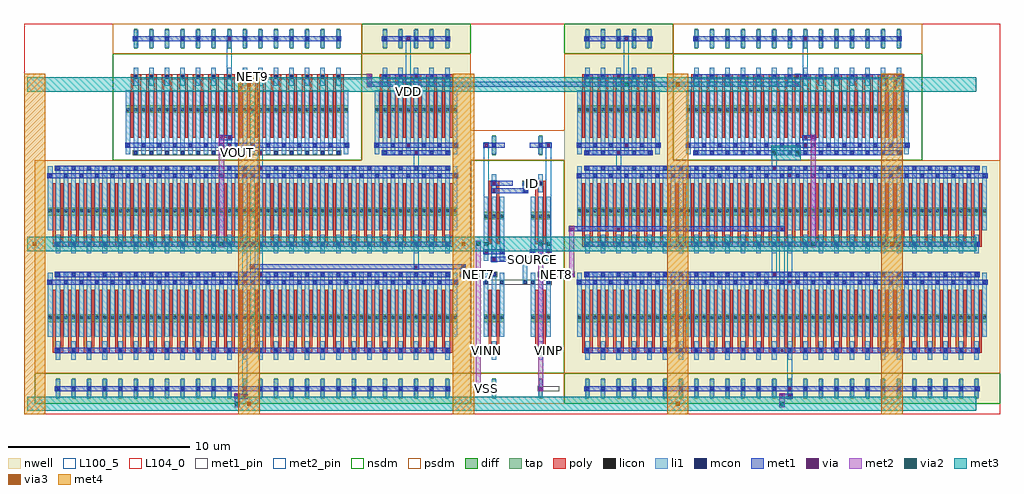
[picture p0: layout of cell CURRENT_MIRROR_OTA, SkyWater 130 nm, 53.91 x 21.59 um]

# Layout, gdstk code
import gdstk
lib = gdstk.Library(unit=1e-6, precision=1e-09)
def R(c, l, rs):  # rectangles x0, y0, x1, y1
    for r in rs: c.add(gdstk.rectangle(r[:2], r[2:], *l))
def A(c, l, x, y, w, h, nx, ny, dx, dy):  # array of equal rectangles
    R(c, l, [(x+i*dx, y+j*dy, x+i*dx+w, y+j*dy+h) for i in range(nx) for j in range(ny)])
nwell = (64, 20)
diff = (65, 20)
tap = (65, 44)
poly = (66, 20)
licon = (66, 44)
li1 = (67, 20)
mcon = (67, 44)
met1_pin = (68, 16)
met1 = (68, 20)
via = (68, 44)
met2_pin = (69, 16)
met2 = (69, 20)
via2 = (69, 44)
met3 = (70, 20)
via3 = (70, 44)
met4 = (71, 20)
nsdm = (93, 44)
psdm = (94, 20)
L100_5 = (100, 5)
L104_0 = (104, 0)

current_mirror_ota = lib.new_cell('CURRENT_MIRROR_OTA')
R(current_mirror_ota, nwell, [(0,0,24.08,13.44), (29.24,0,53.32,13.44), (18.06,13.44,24.08,21), (29.24,13.44,35.26,21)])
R(current_mirror_ota, diff, [(0.735,4.515,23.345,4.935), (24.815,4.515,25.925,4.935), (27.395,4.515,28.505,4.935), (29.975,4.515,52.585,4.935), (24.815,10.185,25.925,10.605), (27.395,10.185,28.505,10.605), (0.735,10.395,23.345,10.815), (29.975,10.395,52.585,10.815), (5.035,16.065,17.325,16.485), (18.795,16.065,23.345,16.485), (29.975,16.065,34.525,16.485), (35.995,16.065,48.285,16.485)])
A(current_mirror_ota, tap, 1.205, 0.28, 0.17, 1.12, 26, 1, 0.86, 0)
A(current_mirror_ota, tap, 25.285, 0.28, 0.17, 1.12, 3, 1, 2.58, 0)
A(current_mirror_ota, tap, 31.305, 0.28, 0.17, 1.12, 25, 1, 0.86, 0)
A(current_mirror_ota, tap, 5.505, 19.6, 0.17, 1.12, 14, 1, 0.86, 0)
A(current_mirror_ota, tap, 19.265, 19.6, 0.17, 1.12, 5, 1, 0.86, 0)
A(current_mirror_ota, tap, 30.445, 19.6, 0.17, 1.12, 5, 1, 0.86, 0)
A(current_mirror_ota, tap, 36.465, 19.6, 0.17, 1.12, 14, 1, 0.86, 0)
R(current_mirror_ota, tap, [(25.285,13.72,25.455,14.84), (27.865,13.72,28.035,14.84)])
A(current_mirror_ota, poly, 1, 2.805, 0.58, 0.27, 26, 2, 0.86, 5.88)
A(current_mirror_ota, poly, 25.08, 2.805, 0.58, 0.27, 3, 1, 2.58, 0)
A(current_mirror_ota, poly, 31.1, 2.805, 0.58, 0.27, 25, 1, 0.86, 0)
A(current_mirror_ota, poly, 1, 2.94, 0.15, 3.36, 52, 2, 0.43, 5.88)
A(current_mirror_ota, poly, 30.24, 2.94, 0.15, 3.36, 52, 2, 0.43, 5.88)
A(current_mirror_ota, poly, 30.24, 8.685, 0.58, 0.27, 26, 1, 0.86, 0)
A(current_mirror_ota, poly, 5.3, 14.7, 0.15, 3.36, 28, 1, 0.43, 0)
A(current_mirror_ota, poly, 19.06, 14.7, 0.15, 3.36, 10, 1, 0.43, 0)
A(current_mirror_ota, poly, 30.24, 14.7, 0.15, 3.36, 10, 1, 0.43, 0)
A(current_mirror_ota, poly, 36.26, 14.7, 0.15, 3.36, 28, 1, 0.43, 0)
A(current_mirror_ota, poly, 5.3, 17.925, 0.58, 0.27, 14, 1, 0.86, 0)
A(current_mirror_ota, poly, 19.06, 17.925, 0.58, 0.27, 5, 1, 0.86, 0)
A(current_mirror_ota, poly, 30.24, 17.925, 0.58, 0.27, 5, 1, 0.86, 0)
A(current_mirror_ota, poly, 36.26, 17.925, 0.58, 0.27, 14, 1, 0.86, 0)
R(current_mirror_ota, poly, [(25.08,2.94,25.23,6.3), (25.51,2.94,25.66,6.3), (27.66,2.94,27.81,6.3), (28.09,2.94,28.24,6.3), (25.08,8.82,25.23,12.18), (25.51,8.82,25.66,12.18), (27.66,8.82,27.81,12.18), (28.09,8.82,28.24,12.18), (25.08,12.045,25.66,12.315), (27.66,12.045,28.24,12.315)])
A(current_mirror_ota, licon, 22.705, 0.755, 0.17, 0.17, 4, 1, 2.58, 0)
A(current_mirror_ota, licon, 1.205, 2.855, 0.17, 0.17, 26, 2, 0.86, 5.88)
A(current_mirror_ota, licon, 25.285, 2.855, 0.17, 0.17, 3, 1, 2.58, 0)
A(current_mirror_ota, licon, 31.305, 2.855, 0.17, 0.17, 25, 1, 0.86, 0)
A(current_mirror_ota, licon, 0.775, 4.685, 0.17, 0.17, 3, 2, 0.43, 5.88)
A(current_mirror_ota, licon, 1.635, 4.685, 0.17, 0.17, 3, 2, 0.43, 5.88)
A(current_mirror_ota, licon, 2.495, 4.685, 0.17, 0.17, 3, 2, 0.43, 5.88)
A(current_mirror_ota, licon, 3.355, 4.685, 0.17, 0.17, 3, 2, 0.43, 5.88)
A(current_mirror_ota, licon, 4.215, 4.685, 0.17, 0.17, 3, 2, 0.43, 5.88)
A(current_mirror_ota, licon, 5.075, 4.685, 0.17, 0.17, 3, 2, 0.43, 5.88)
A(current_mirror_ota, licon, 5.935, 4.685, 0.17, 0.17, 3, 2, 0.43, 5.88)
A(current_mirror_ota, licon, 6.795, 4.685, 0.17, 0.17, 3, 2, 0.43, 5.88)
A(current_mirror_ota, licon, 7.655, 4.685, 0.17, 0.17, 3, 2, 0.43, 5.88)
A(current_mirror_ota, licon, 8.515, 4.685, 0.17, 0.17, 3, 2, 0.43, 5.88)
A(current_mirror_ota, licon, 9.375, 4.685, 0.17, 0.17, 3, 2, 0.43, 5.88)
A(current_mirror_ota, licon, 10.235, 4.685, 0.17, 0.17, 3, 2, 0.43, 5.88)
A(current_mirror_ota, licon, 11.095, 4.685, 0.17, 0.17, 3, 2, 0.43, 5.88)
A(current_mirror_ota, licon, 11.955, 4.685, 0.17, 0.17, 3, 2, 0.43, 5.88)
A(current_mirror_ota, licon, 12.815, 4.685, 0.17, 0.17, 3, 2, 0.43, 5.88)
A(current_mirror_ota, licon, 13.675, 4.685, 0.17, 0.17, 3, 2, 0.43, 5.88)
A(current_mirror_ota, licon, 14.535, 4.685, 0.17, 0.17, 3, 2, 0.43, 5.88)
A(current_mirror_ota, licon, 15.395, 4.685, 0.17, 0.17, 3, 2, 0.43, 5.88)
A(current_mirror_ota, licon, 16.255, 4.685, 0.17, 0.17, 3, 2, 0.43, 5.88)
A(current_mirror_ota, licon, 17.115, 4.685, 0.17, 0.17, 3, 2, 0.43, 5.88)
A(current_mirror_ota, licon, 17.975, 4.685, 0.17, 0.17, 3, 2, 0.43, 5.88)
A(current_mirror_ota, licon, 18.835, 4.685, 0.17, 0.17, 3, 2, 0.43, 5.88)
A(current_mirror_ota, licon, 19.695, 4.685, 0.17, 0.17, 3, 2, 0.43, 5.88)
A(current_mirror_ota, licon, 20.555, 4.685, 0.17, 0.17, 3, 2, 0.43, 5.88)
A(current_mirror_ota, licon, 21.415, 4.685, 0.17, 0.17, 3, 2, 0.43, 5.88)
A(current_mirror_ota, licon, 22.275, 4.685, 0.17, 0.17, 3, 2, 0.43, 5.88)
A(current_mirror_ota, licon, 24.855, 4.685, 0.17, 0.17, 3, 2, 0.43, 5.58)
A(current_mirror_ota, licon, 27.435, 4.685, 0.17, 0.17, 3, 2, 0.43, 5.58)
A(current_mirror_ota, licon, 30.015, 4.685, 0.17, 0.17, 3, 2, 0.43, 5.88)
A(current_mirror_ota, licon, 30.875, 4.685, 0.17, 0.17, 3, 2, 0.43, 5.88)
A(current_mirror_ota, licon, 31.735, 4.685, 0.17, 0.17, 3, 2, 0.43, 5.88)
A(current_mirror_ota, licon, 32.595, 4.685, 0.17, 0.17, 3, 2, 0.43, 5.88)
A(current_mirror_ota, licon, 33.455, 4.685, 0.17, 0.17, 3, 2, 0.43, 5.88)
A(current_mirror_ota, licon, 34.315, 4.685, 0.17, 0.17, 3, 2, 0.43, 5.88)
A(current_mirror_ota, licon, 35.175, 4.685, 0.17, 0.17, 3, 2, 0.43, 5.88)
A(current_mirror_ota, licon, 36.035, 4.685, 0.17, 0.17, 3, 2, 0.43, 5.88)
A(current_mirror_ota, licon, 36.895, 4.685, 0.17, 0.17, 3, 2, 0.43, 5.88)
A(current_mirror_ota, licon, 37.755, 4.685, 0.17, 0.17, 3, 2, 0.43, 5.88)
A(current_mirror_ota, licon, 38.615, 4.685, 0.17, 0.17, 3, 2, 0.43, 5.88)
A(current_mirror_ota, licon, 39.475, 4.685, 0.17, 0.17, 3, 2, 0.43, 5.88)
A(current_mirror_ota, licon, 40.335, 4.685, 0.17, 0.17, 3, 2, 0.43, 5.88)
A(current_mirror_ota, licon, 41.195, 4.685, 0.17, 0.17, 3, 2, 0.43, 5.88)
A(current_mirror_ota, licon, 42.055, 4.685, 0.17, 0.17, 3, 2, 0.43, 5.88)
A(current_mirror_ota, licon, 42.915, 4.685, 0.17, 0.17, 3, 2, 0.43, 5.88)
A(current_mirror_ota, licon, 43.775, 4.685, 0.17, 0.17, 3, 2, 0.43, 5.88)
A(current_mirror_ota, licon, 44.635, 4.685, 0.17, 0.17, 3, 2, 0.43, 5.88)
A(current_mirror_ota, licon, 45.495, 4.685, 0.17, 0.17, 3, 2, 0.43, 5.88)
A(current_mirror_ota, licon, 46.355, 4.685, 0.17, 0.17, 3, 2, 0.43, 5.88)
A(current_mirror_ota, licon, 47.215, 4.685, 0.17, 0.17, 3, 2, 0.43, 5.88)
A(current_mirror_ota, licon, 48.075, 4.685, 0.17, 0.17, 3, 2, 0.43, 5.88)
A(current_mirror_ota, licon, 48.935, 4.685, 0.17, 0.17, 3, 2, 0.43, 5.88)
A(current_mirror_ota, licon, 49.795, 4.685, 0.17, 0.17, 3, 2, 0.43, 5.88)
A(current_mirror_ota, licon, 50.655, 4.685, 0.17, 0.17, 3, 2, 0.43, 5.88)
A(current_mirror_ota, licon, 51.515, 4.685, 0.17, 0.17, 3, 2, 0.43, 5.88)
A(current_mirror_ota, licon, 30.445, 8.735, 0.17, 0.17, 26, 1, 0.86, 0)
A(current_mirror_ota, licon, 5.075, 16.145, 0.17, 0.17, 3, 1, 0.43, 0)
A(current_mirror_ota, licon, 5.935, 16.145, 0.17, 0.17, 3, 1, 0.43, 0)
A(current_mirror_ota, licon, 6.795, 16.145, 0.17, 0.17, 3, 1, 0.43, 0)
A(current_mirror_ota, licon, 7.655, 16.145, 0.17, 0.17, 3, 1, 0.43, 0)
A(current_mirror_ota, licon, 8.515, 16.145, 0.17, 0.17, 3, 1, 0.43, 0)
A(current_mirror_ota, licon, 9.375, 16.145, 0.17, 0.17, 3, 1, 0.43, 0)
A(current_mirror_ota, licon, 10.235, 16.145, 0.17, 0.17, 3, 1, 0.43, 0)
A(current_mirror_ota, licon, 11.095, 16.145, 0.17, 0.17, 3, 1, 0.43, 0)
A(current_mirror_ota, licon, 11.955, 16.145, 0.17, 0.17, 3, 1, 0.43, 0)
A(current_mirror_ota, licon, 12.815, 16.145, 0.17, 0.17, 3, 1, 0.43, 0)
A(current_mirror_ota, licon, 13.675, 16.145, 0.17, 0.17, 3, 1, 0.43, 0)
A(current_mirror_ota, licon, 14.535, 16.145, 0.17, 0.17, 3, 1, 0.43, 0)
A(current_mirror_ota, licon, 15.395, 16.145, 0.17, 0.17, 3, 1, 0.43, 0)
A(current_mirror_ota, licon, 16.255, 16.145, 0.17, 0.17, 3, 1, 0.43, 0)
A(current_mirror_ota, licon, 18.835, 16.145, 0.17, 0.17, 3, 1, 0.43, 0)
A(current_mirror_ota, licon, 19.695, 16.145, 0.17, 0.17, 3, 1, 0.43, 0)
A(current_mirror_ota, licon, 20.555, 16.145, 0.17, 0.17, 3, 1, 0.43, 0)
A(current_mirror_ota, licon, 21.415, 16.145, 0.17, 0.17, 3, 1, 0.43, 0)
A(current_mirror_ota, licon, 22.275, 16.145, 0.17, 0.17, 3, 1, 0.43, 0)
A(current_mirror_ota, licon, 30.015, 16.145, 0.17, 0.17, 3, 1, 0.43, 0)
A(current_mirror_ota, licon, 30.875, 16.145, 0.17, 0.17, 3, 1, 0.43, 0)
A(current_mirror_ota, licon, 31.735, 16.145, 0.17, 0.17, 3, 1, 0.43, 0)
A(current_mirror_ota, licon, 32.595, 16.145, 0.17, 0.17, 3, 1, 0.43, 0)
A(current_mirror_ota, licon, 33.455, 16.145, 0.17, 0.17, 3, 1, 0.43, 0)
A(current_mirror_ota, licon, 36.035, 16.145, 0.17, 0.17, 3, 1, 0.43, 0)
A(current_mirror_ota, licon, 36.895, 16.145, 0.17, 0.17, 3, 1, 0.43, 0)
A(current_mirror_ota, licon, 37.755, 16.145, 0.17, 0.17, 3, 1, 0.43, 0)
A(current_mirror_ota, licon, 38.615, 16.145, 0.17, 0.17, 3, 1, 0.43, 0)
A(current_mirror_ota, licon, 39.475, 16.145, 0.17, 0.17, 3, 1, 0.43, 0)
A(current_mirror_ota, licon, 40.335, 16.145, 0.17, 0.17, 3, 1, 0.43, 0)
A(current_mirror_ota, licon, 41.195, 16.145, 0.17, 0.17, 3, 1, 0.43, 0)
A(current_mirror_ota, licon, 42.055, 16.145, 0.17, 0.17, 3, 1, 0.43, 0)
A(current_mirror_ota, licon, 42.915, 16.145, 0.17, 0.17, 3, 1, 0.43, 0)
A(current_mirror_ota, licon, 43.775, 16.145, 0.17, 0.17, 3, 1, 0.43, 0)
A(current_mirror_ota, licon, 44.635, 16.145, 0.17, 0.17, 3, 1, 0.43, 0)
A(current_mirror_ota, licon, 45.495, 16.145, 0.17, 0.17, 3, 1, 0.43, 0)
A(current_mirror_ota, licon, 46.355, 16.145, 0.17, 0.17, 3, 1, 0.43, 0)
A(current_mirror_ota, licon, 47.215, 16.145, 0.17, 0.17, 3, 1, 0.43, 0)
A(current_mirror_ota, licon, 5.505, 17.975, 0.17, 0.17, 14, 2, 0.86, 2.1)
A(current_mirror_ota, licon, 19.265, 17.975, 0.17, 0.17, 5, 2, 0.86, 2.1)
A(current_mirror_ota, licon, 30.445, 17.975, 0.17, 0.17, 5, 2, 0.86, 2.1)
A(current_mirror_ota, licon, 36.465, 17.975, 0.17, 0.17, 14, 2, 0.86, 2.1)
R(current_mirror_ota, licon, [(1.205,0.755,1.375,0.925), (1.205,0.755,1.375,0.925), (2.065,0.755,2.235,0.925), (2.065,0.755,2.235,0.925), (2.925,0.755,3.095,0.925), (2.925,0.755,3.095,0.925), (3.785,0.755,3.955,0.925), (3.785,0.755,3.955,0.925), (4.645,0.755,4.815,0.925), (4.645,0.755,4.815,0.925), (5.505,0.755,5.675,0.925), (5.505,0.755,5.675,0.925), (6.365,0.755,6.535,0.925), (6.365,0.755,6.535,0.925), (7.225,0.755,7.395,0.925), (7.225,0.755,7.395,0.925), (8.085,0.755,8.255,0.925), (8.085,0.755,8.255,0.925), (8.945,0.755,9.115,0.925), (8.945,0.755,9.115,0.925), (9.805,0.755,9.975,0.925), (9.805,0.755,9.975,0.925), (10.665,0.755,10.835,0.925), (10.665,0.755,10.835,0.925), (11.525,0.755,11.695,0.925), (11.525,0.755,11.695,0.925), (12.385,0.755,12.555,0.925), (12.385,0.755,12.555,0.925), (13.245,0.755,13.415,0.925), (13.245,0.755,13.415,0.925), (14.105,0.755,14.275,0.925), (14.105,0.755,14.275,0.925), (14.965,0.755,15.135,0.925), (14.965,0.755,15.135,0.925), (15.825,0.755,15.995,0.925), (15.825,0.755,15.995,0.925), (16.685,0.755,16.855,0.925), (16.685,0.755,16.855,0.925), (17.545,0.755,17.715,0.925), (17.545,0.755,17.715,0.925), (18.405,0.755,18.575,0.925), (18.405,0.755,18.575,0.925), (19.265,0.755,19.435,0.925), (19.265,0.755,19.435,0.925), (20.125,0.755,20.295,0.925), (20.125,0.755,20.295,0.925), (20.985,0.755,21.155,0.925), (20.985,0.755,21.155,0.925), (21.845,0.755,22.015,0.925), (21.845,0.755,22.015,0.925), (22.705,0.755,22.875,0.925), (30.445,0.755,30.615,0.925), (31.305,0.755,31.475,0.925), (31.305,0.755,31.475,0.925), (32.165,0.755,32.335,0.925), (32.165,0.755,32.335,0.925), (33.025,0.755,33.195,0.925), (33.025,0.755,33.195,0.925), (33.885,0.755,34.055,0.925), (33.885,0.755,34.055,0.925), (34.745,0.755,34.915,0.925), (34.745,0.755,34.915,0.925), (35.605,0.755,35.775,0.925), (35.605,0.755,35.775,0.925), (36.465,0.755,36.635,0.925), (36.465,0.755,36.635,0.925), (37.325,0.755,37.495,0.925), (37.325,0.755,37.495,0.925), (38.185,0.755,38.355,0.925), (38.185,0.755,38.355,0.925), (39.045,0.755,39.215,0.925), (39.045,0.755,39.215,0.925), (39.905,0.755,40.075,0.925), (39.905,0.755,40.075,0.925), (40.765,0.755,40.935,0.925), (40.765,0.755,40.935,0.925), (41.625,0.755,41.795,0.925), (41.625,0.755,41.795,0.925), (42.485,0.755,42.655,0.925), (42.485,0.755,42.655,0.925), (43.345,0.755,43.515,0.925), (43.345,0.755,43.515,0.925), (44.205,0.755,44.375,0.925), (44.205,0.755,44.375,0.925), (45.065,0.755,45.235,0.925), (45.065,0.755,45.235,0.925), (45.925,0.755,46.095,0.925), (45.925,0.755,46.095,0.925), (46.785,0.755,46.955,0.925), (46.785,0.755,46.955,0.925), (47.645,0.755,47.815,0.925), (47.645,0.755,47.815,0.925), (48.505,0.755,48.675,0.925), (48.505,0.755,48.675,0.925), (49.365,0.755,49.535,0.925), (49.365,0.755,49.535,0.925), (50.225,0.755,50.395,0.925), (50.225,0.755,50.395,0.925), (51.085,0.755,51.255,0.925), (51.085,0.755,51.255,0.925), (51.945,0.755,52.115,0.925), (51.945,0.755,52.115,0.925), (25.285,12.095,25.455,12.265), (27.865,12.095,28.035,12.265), (25.285,14.195,25.455,14.365), (27.865,14.195,28.035,14.365)])
A(current_mirror_ota, li1, 1.165, 0.335, 0.25, 1.01, 26, 2, 0.86, 2.1)
A(current_mirror_ota, li1, 25.245, 0.335, 0.25, 1.01, 3, 2, 2.58, 2.1)
A(current_mirror_ota, li1, 31.265, 0.335, 0.25, 1.01, 25, 2, 0.86, 2.1)
A(current_mirror_ota, li1, 0.735, 3.695, 0.25, 3.53, 53, 2, 0.43, 5.88)
A(current_mirror_ota, li1, 24.815, 3.695, 0.25, 3.53, 3, 2, 0.43, 4.2)
A(current_mirror_ota, li1, 27.395, 3.695, 0.25, 3.53, 3, 2, 0.43, 4.2)
A(current_mirror_ota, li1, 29.975, 3.695, 0.25, 3.53, 53, 2, 0.43, 5.88)
A(current_mirror_ota, li1, 1.165, 8.315, 0.25, 1.01, 26, 1, 0.86, 0)
A(current_mirror_ota, li1, 30.405, 8.315, 0.25, 1.01, 26, 1, 0.86, 0)
A(current_mirror_ota, li1, 5.035, 13.775, 0.25, 3.53, 29, 1, 0.43, 0)
A(current_mirror_ota, li1, 18.795, 13.775, 0.25, 3.53, 11, 1, 0.43, 0)
A(current_mirror_ota, li1, 29.975, 13.775, 0.25, 3.53, 11, 1, 0.43, 0)
A(current_mirror_ota, li1, 35.995, 13.775, 0.25, 3.53, 29, 1, 0.43, 0)
A(current_mirror_ota, li1, 5.465, 17.555, 0.25, 1.01, 14, 2, 0.86, 2.1)
A(current_mirror_ota, li1, 19.225, 17.555, 0.25, 1.01, 5, 2, 0.86, 2.1)
A(current_mirror_ota, li1, 30.405, 17.555, 0.25, 1.01, 5, 2, 0.86, 2.1)
A(current_mirror_ota, li1, 36.425, 17.555, 0.25, 1.01, 14, 2, 0.86, 2.1)
R(current_mirror_ota, li1, [(26.965,6.635,27.215,8.065), (23.525,7.055,23.775,7.645), (25.245,11.675,25.495,12.685), (26.965,11.675,27.215,12.265), (27.825,11.675,28.075,12.685), (25.245,13.775,25.495,14.785), (27.825,13.775,28.075,14.785)])
A(current_mirror_ota, mcon, 1.205, 0.755, 0.17, 0.17, 26, 2, 0.86, 2.1)
A(current_mirror_ota, mcon, 25.285, 0.755, 0.17, 0.17, 3, 2, 2.58, 2.1)
A(current_mirror_ota, mcon, 31.305, 0.755, 0.17, 0.17, 25, 2, 0.86, 2.1)
A(current_mirror_ota, mcon, 0.775, 6.635, 0.17, 0.17, 27, 2, 0.86, 5.88)
A(current_mirror_ota, mcon, 30.015, 6.635, 0.17, 0.17, 27, 2, 0.86, 5.88)
A(current_mirror_ota, mcon, 1.205, 7.055, 0.17, 0.17, 27, 1, 0.86, 0)
A(current_mirror_ota, mcon, 25.285, 7.055, 0.17, 0.17, 3, 1, 2.58, 0)
A(current_mirror_ota, mcon, 31.305, 7.055, 0.17, 0.17, 25, 1, 0.86, 0)
A(current_mirror_ota, mcon, 1.205, 8.735, 0.17, 0.17, 26, 2, 0.86, 4.2)
A(current_mirror_ota, mcon, 30.445, 8.735, 0.17, 0.17, 26, 2, 0.86, 4.2)
A(current_mirror_ota, mcon, 5.505, 13.775, 0.17, 0.17, 14, 2, 0.86, 4.2)
A(current_mirror_ota, mcon, 19.265, 13.775, 0.17, 0.17, 5, 2, 0.86, 4.2)
A(current_mirror_ota, mcon, 30.445, 13.775, 0.17, 0.17, 5, 2, 0.86, 4.2)
A(current_mirror_ota, mcon, 36.465, 13.775, 0.17, 0.17, 14, 2, 0.86, 4.2)
A(current_mirror_ota, mcon, 5.075, 14.195, 0.17, 0.17, 15, 1, 0.86, 0)
A(current_mirror_ota, mcon, 18.835, 14.195, 0.17, 0.17, 6, 1, 0.86, 0)
A(current_mirror_ota, mcon, 30.015, 14.195, 0.17, 0.17, 6, 1, 0.86, 0)
A(current_mirror_ota, mcon, 36.035, 14.195, 0.17, 0.17, 15, 1, 0.86, 0)
A(current_mirror_ota, mcon, 5.505, 20.075, 0.17, 0.17, 14, 1, 0.86, 0)
A(current_mirror_ota, mcon, 19.265, 20.075, 0.17, 0.17, 5, 1, 0.86, 0)
A(current_mirror_ota, mcon, 30.445, 20.075, 0.17, 0.17, 5, 1, 0.86, 0)
A(current_mirror_ota, mcon, 36.465, 20.075, 0.17, 0.17, 14, 1, 0.86, 0)
R(current_mirror_ota, mcon, [(24.855,6.635,25.025,6.805), (25.715,6.635,25.885,6.805), (27.005,6.635,27.175,6.805), (27.435,6.635,27.605,6.805), (28.295,6.635,28.465,6.805), (23.565,7.475,23.735,7.645), (25.285,7.895,25.455,8.065), (27.005,7.895,27.175,8.065), (27.865,7.895,28.035,8.065), (24.855,8.315,25.025,8.485), (25.715,8.315,25.885,8.485), (27.435,8.315,27.605,8.485), (28.295,8.315,28.465,8.485), (27.005,11.675,27.175,11.845), (25.285,12.095,25.455,12.265), (27.005,12.095,27.175,12.265), (27.865,12.095,28.035,12.265), (25.285,14.195,25.455,14.365), (27.865,14.195,28.035,14.365)])
R(current_mirror_ota, met1_pin, [(24.34,0.7,25.54,0.98), (27.78,0.7,28.98,0.98), (24.34,2.8,25.54,3.08), (27.78,2.8,28.98,3.08), (24.77,6.58,28.55,6.86), (23.48,7,25.54,7.28), (27.78,7,29.83,7.28), (26.92,7.84,28.12,8.12), (26.92,12.04,28.12,12.32), (5.42,13.72,16.94,14), (5.42,17.92,18.65,18.2)])
R(current_mirror_ota, met1, [(11.02,0.28,11.77,0.56), (41.12,0.28,41.87,0.56), (1.12,0.7,22.96,0.98), (30.36,0.7,52.2,0.98), (1.12,2.8,22.96,3.08), (30.36,2.8,52.2,3.08), (0.69,6.58,23.39,6.86), (29.93,6.58,52.63,6.86), (1.12,7,22.96,7.28), (30.36,7,52.2,7.28), (11.88,7.42,23.82,7.7), (25.2,7.84,26.4,8.12), (24.77,8.26,25.97,8.54), (27.35,8.26,28.55,8.54), (1.12,8.68,22.96,8.96), (30.36,8.68,52.2,8.96), (29.51,9.52,41.44,9.8), (25.21,11.62,27.26,11.9), (25.2,12.04,26.4,12.32), (0.69,12.46,23.39,12.74), (29.93,12.46,52.63,12.74), (1.12,12.88,22.96,13.16), (30.36,12.88,52.2,13.16), (19.18,13.72,22.96,14), (30.36,13.72,34.14,14), (36.38,13.72,47.9,14), (4.99,14.14,17.37,14.42), (18.75,14.14,23.39,14.42), (24.77,14.14,25.97,14.42), (27.35,14.14,28.55,14.42), (29.93,14.14,34.57,14.42), (35.95,14.14,48.33,14.42), (10.16,14.56,10.91,14.84), (42.41,14.56,43.16,14.84), (18.33,17.5,42.3,17.78), (19.18,17.92,22.96,18.2), (30.36,17.92,34.14,18.2), (36.38,17.92,47.9,18.2), (5.42,20.02,16.94,20.3), (19.18,20.02,22.96,20.3), (30.36,20.02,34.14,20.3), (36.38,20.02,47.9,20.3)])
A(current_mirror_ota, via, 11.535, 0.765, 0.15, 0.15, 1, 3, 0, 5.88)
A(current_mirror_ota, via, 41.635, 0.765, 0.15, 0.15, 1, 3, 0, 5.88)
A(current_mirror_ota, via, 32.175, 9.585, 0.15, 0.15, 1, 3, 0, 4.2)
R(current_mirror_ota, via, [(11.105,0.345,11.255,0.495), (11.535,0.345,11.685,0.495), (41.205,0.345,41.355,0.495), (41.635,0.345,41.785,0.495), (24.435,0.765,24.585,0.915), (27.875,0.765,28.025,0.915), (11.965,2.865,12.115,3.015), (41.205,2.865,41.355,3.015), (12.395,7.065,12.545,7.215), (29.595,7.065,29.745,7.215), (40.775,7.065,40.925,7.215), (11.965,7.485,12.115,7.635), (20.995,7.485,21.145,7.635), (25.295,7.905,25.445,8.055), (24.865,8.325,25.015,8.475), (28.305,8.325,28.455,8.475), (11.965,8.745,12.115,8.895), (41.205,8.745,41.355,8.895), (29.595,9.585,29.745,9.735), (41.205,9.585,41.355,9.735), (25.295,11.685,25.445,11.835), (25.295,12.105,25.445,12.255), (12.395,12.945,12.545,13.095), (40.775,12.945,40.925,13.095), (12.395,13.785,12.545,13.935), (20.995,13.785,21.145,13.935), (42.065,13.785,42.215,13.935), (10.675,14.205,10.825,14.355), (20.565,14.205,20.715,14.355), (24.865,14.205,25.015,14.355), (28.305,14.205,28.455,14.355), (32.605,14.205,32.755,14.355), (42.495,14.205,42.645,14.355), (10.245,14.625,10.395,14.775), (10.675,14.625,10.825,14.775), (42.495,14.625,42.645,14.775), (42.925,14.625,43.075,14.775), (18.415,17.565,18.565,17.715), (42.065,17.565,42.215,17.715), (18.415,17.985,18.565,18.135), (20.995,17.985,21.145,18.135), (42.065,17.985,42.215,18.135), (10.675,20.085,10.825,20.235), (20.565,20.085,20.715,20.235), (32.605,20.085,32.755,20.235), (42.495,20.085,42.645,20.235)])
R(current_mirror_ota, met2_pin, [(11.47,0.26,11.75,12.76), (41.57,0.26,41.85,12.76), (11.9,2.78,12.18,8.98), (41.14,2.78,41.42,9.82), (12.33,6.98,12.61,14.02), (40.71,6.98,40.99,14.045), (20.93,7.4,21.21,18.22), (25.23,7.82,25.51,12.34), (24.8,8.24,25.08,14.44), (28.24,8.24,28.52,14.44), (32.11,9.5,32.39,18.22), (42,13.675,42.28,18.22), (10.61,14.12,10.89,20.32), (20.5,14.12,20.78,20.32), (32.54,14.12,32.82,20.32), (42.43,14.12,42.71,20.32)])
R(current_mirror_ota, met2, [(11.04,-0.185,11.32,0.58), (41.14,-0.185,41.42,0.58), (24.37,0.68,24.65,9.005), (27.81,0.68,28.09,9.005), (29.53,6.98,29.81,9.82), (10.18,8.635,10.46,14.86), (42.86,8.635,43.14,14.86), (18.35,17.48,18.63,18.22)])
R(current_mirror_ota, via2, [(11.08,-0.1,11.28,0.1), (41.18,-0.1,41.38,0.1), (10.22,8.72,10.42,8.92), (24.41,8.72,24.61,8.92), (24.84,8.72,25.04,8.92), (27.85,8.72,28.05,8.92), (28.28,8.72,28.48,8.92), (42.9,8.72,43.1,8.92), (40.75,13.76,40.95,13.96), (42.04,13.76,42.24,13.96), (20.54,17.54,20.74,17.74), (32.58,17.54,32.78,17.74)])
A(current_mirror_ota, met3, -0.4, -0.4, 52.4, 0.8, 1, 3, 0, 8.82)
R(current_mirror_ota, met3, [(40.685,13.46,42.305,14.26)])
A(current_mirror_ota, via3, -0.1, 8.72, 0.2, 0.2, 3, 1, 23.68, 0)
R(current_mirror_ota, via3, [(11.74,-0.1,11.94,0.1), (35.42,-0.1,35.62,0.1), (11.74,17.54,11.94,17.74), (35.42,17.54,35.62,17.74)])
A(current_mirror_ota, met4, -0.59, -0.59, 1.18, 18.82, 5, 1, 11.84, 0)
R(current_mirror_ota, nsdm, [(0,0,24.08,1.68), (29.24,0,53.32,1.68), (24.08,1.68,26.66,7.56), (26.66,1.68,29.24,7.56), (24.08,7.56,26.66,13.44), (26.66,7.56,29.24,13.44), (4.3,13.44,18.06,19.32), (35.26,13.44,49.02,19.32), (18.06,19.32,24.08,21), (29.24,19.32,35.26,21)])
R(current_mirror_ota, psdm, [(24.08,0,26.66,1.68), (26.66,0,29.24,1.68), (0,1.68,24.08,13.44), (29.24,1.68,53.32,13.44), (18.06,13.44,24.08,19.32), (24.08,13.44,26.66,15.12), (26.66,13.44,29.24,15.12), (29.24,13.44,35.26,19.32), (4.3,19.32,18.06,21), (35.26,19.32,49.02,21)])
R(current_mirror_ota, L100_5, [(-0.59,-0.59,53.32,21)])
R(current_mirror_ota, L104_0, [(-0.59,-0.59,53.32,21)])
current_mirror_ota.add(gdstk.Label('SOURCE', (27.52,7.98), layer=68, texttype=5))
current_mirror_ota.add(gdstk.Label('ID', (27.52,12.18), layer=68, texttype=5))
current_mirror_ota.add(gdstk.Label('VOUT', (11.18,13.86), layer=68, texttype=5))
current_mirror_ota.add(gdstk.Label('NET9', (12.035,18.06), layer=68, texttype=5))
current_mirror_ota.add(gdstk.Label('NET7', (24.51,7.14), layer=68, texttype=5))
current_mirror_ota.add(gdstk.Label('NET8', (28.805,7.14), layer=68, texttype=5))
current_mirror_ota.add(gdstk.Label('VINN', (24.94,2.94), layer=68, texttype=5))
current_mirror_ota.add(gdstk.Label('VINP', (28.38,2.94), layer=68, texttype=5))
current_mirror_ota.add(gdstk.Label('VSS', (24.94,0.84), layer=68, texttype=5))
current_mirror_ota.add(gdstk.Label('VDD', (20.64,17.22), layer=69, texttype=5))

lib.write_gds('CURRENT_MIRROR_OTA.gds')
